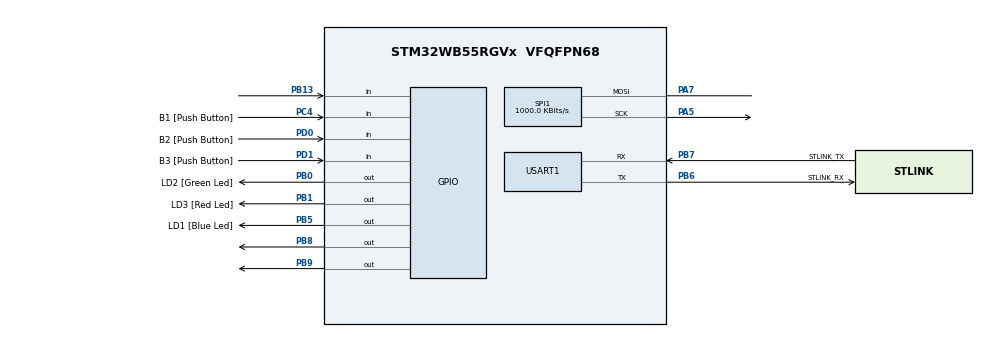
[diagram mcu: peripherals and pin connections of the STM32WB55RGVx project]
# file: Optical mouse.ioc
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Mcu.Family=STM32WB
Mcu.Name=STM32WB55RGVx
Mcu.Package=VFQFPN68
NVIC.PriorityGroup=NVIC_PRIORITYGROUP_4
OSC_IN.GPIO_Label=RCC_OSC_IN
OSC_IN.Mode=HSE-External-Clock-Source
OSC_IN.Signal=RCC_OSC_IN
OSC_OUT.GPIO_Label=RCC_OSC_OUT
OSC_OUT.Signal=RCC_OSC_OUT
PA11.GPIO_Label=USB_DM
PA11.Signal=USB_DM
PA12.GPIO_Label=USB_DP
PA12.Signal=USB_DP
PA13.GPIO_Label=JTMS
PA13.Signal=SYS_JTMS-SWDIO
PA14.GPIO_Label=JTCK
PA14.Signal=SYS_JTCK-SWCLK
PA5.Mode=Simplex_Bidirectional_Master
PA5.Signal=SPI1_SCK
PA7.GPIO_PuPd=GPIO_NOPULL
PA7.Mode=Simplex_Bidirectional_Master
PA7.Signal=SPI1_MOSI
PB0.GPIO_Label=LD2 [Green Led]
PB0.Signal=GPIO_Output
PB1.GPIO_Label=LD3 [Red Led]
PB1.Signal=GPIO_Output
PB13.Signal=GPIO_Input
PB3.GPIO_Label=JTDO
PB3.Signal=SYS_JTDO-SWO
PB5.GPIO_Label=LD1 [Blue Led]
PB5.Signal=GPIO_Output
PB6.GPIO_Label=STLINK_RX
PB6.Mode=Asynchronous
PB6.Signal=USART1_TX
PB7.GPIO_Label=STLINK_TX
PB7.Mode=Asynchronous
PB7.Signal=USART1_RX
PB8.Signal=GPIO_Output
PB9.PinState=GPIO_PIN_SET
PB9.Signal=GPIO_Output
PC13.GPIO_Label=SYS_WKUP2
PC13.Signal=SYS_WKUP2
PC14-OSC32_IN.GPIO_Label=RCC_OSC32_IN
PC14-OSC32_IN.Mode=LSE-External-Clock-Source
PC14-OSC32_IN.Signal=RCC_OSC32_IN
PC15-OSC32_OUT.GPIO_Label=RCC_OSC32_OUT
PC15-OSC32_OUT.Signal=RCC_OSC32_OUT
PC4.GPIO_Label=B1 [Push Button]
PC4.Signal=GPIO_Input
PD0.GPIO_Label=B2 [Push Button]
PD0.Signal=GPIO_Input
PD1.GPIO_Label=B3 [Push Button]
PD1.Signal=GPIO_Input
ProjectManager.HeapSize=0x200
ProjectManager.StackSize=0x400
ProjectManager.TargetToolchain=STM32CubeIDE
RCC.ADCFreq_Value=128000000
RCC.AHBFreq_Value=32000000
RCC.APB1Freq_Value=32000000
RCC.APB1TimFreq_Value=32000000
RCC.APB2Freq_Value=32000000
RCC.APB2TimFreq_Value=32000000
RCC.APB3Freq_Value=16000000
RCC.CortexFreq_Value=32000000
RCC.HCLKFreq_Value=32000000
RCC.HSE_VALUE=32000000
RCC.HSI48_VALUE=48000000
RCC.HSI_VALUE=16000000
RCC.LSE_VALUE=32768
RCC.MSIClockRange=RCC_MSIRANGE_10
RCC.SMPSCLockSelection=RCC_SMPSCLKSOURCE_HSI
RCC.SMPSCLockSelectionVirtual=RCC_SMPSCLKSOURCE_HSI
RCC.SMPSCLockSelectionVirtualVirtual=RCC_SMPSCLKSOURCE_HSI
RCC.SMPSDivider=1
RCC.SYSCLKFreq_VALUE=32000000
RCC.USBFreq_Value=128000000
RCC.VCOOutputFreq_Value=256000000
SPI1.BaudRatePrescaler=SPI_BAUDRATEPRESCALER_32
SPI1.CLKPhase=SPI_PHASE_1EDGE
SPI1.CLKPolarity=SPI_POLARITY_HIGH
SPI1.CalculateBaudRate=1000.0 KBits/s
SPI1.DataSize=SPI_DATASIZE_8BIT
SPI1.Direction=SPI_DIRECTION_1LINE
SPI1.Mode=SPI_MODE_MASTER
SPI1.NSSPMode=SPI_NSS_PULSE_DISABLE
SPI1.VirtualType=VM_MASTER
USART1.VirtualMode-Asynchronous=VM_ASYNC
VP_MEMORYMAP_VS_MEMORYMAP.Mode=CurAppReg
board=NUCLEO-WB55RG

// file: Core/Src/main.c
/* USER CODE BEGIN Header */
/**
  ******************************************************************************
  * @file           : main.c
  * @brief          : Main program body
  ******************************************************************************
  * @attention
  *
  * Copyright (c) 2025 STMicroelectronics.
  * All rights reserved.
  *
  * This software is licensed under terms that can be found in the LICENSE file
  * in the root directory of this software component.
  * If no LICENSE file comes with this software, it is provided AS-IS.
  *
  ******************************************************************************
  */
/* USER CODE END Header */
#include "main.h"

/* USER CODE BEGIN Includes */
#include <stdio.h>
#include <string.h>
#include <stdint.h>
#include <string.h>
#include <stdbool.h>
#include <math.h>
#include "PMW3610DM-SUDU.h"
/* USER CODE END Includes */

SPI_HandleTypeDef hspi1;

UART_HandleTypeDef huart1;

/* USER CODE BEGIN PV */
char txt[20]="Hello\r\n";
PMW3610DM_MotionData motionData;
/* USER CODE END PV */

void SystemClock_Config(void);
void PeriphCommonClock_Config(void);
static void MX_GPIO_Init(void);
static void MX_SPI1_Init(void);
static void MX_USART1_UART_Init(void);

int main(void)
{

  /* MCU Configuration--------------------------------------------------------*/

  /* Reset of all peripherals, Initializes the Flash interface and the Systick. */
  HAL_Init();

  /* Configure the system clock */
  SystemClock_Config();

  /* Configure the peripherals common clocks */
  PeriphCommonClock_Config();

  /* Initialize all configured peripherals */
  MX_GPIO_Init();
  MX_SPI1_Init();
  MX_USART1_UART_Init();
  /* USER CODE BEGIN 2 */

	  PMW3610DM_CS_Deselect();
	  HAL_Delay(1000);
  	  PMW3610DM_CS_Select();
  	HAL_Delay(1000);

//  PMW3610DM_WriteReg(REG_SPI_CLK_ON_REQ, 0xBA); // Enable SPI clock
  PMW3610DM_Init(&hspi1, GPIOB, GPIO_PIN_8);

  /* USER CODE END 2 */

  /* Infinite loop */
  /* USER CODE BEGIN WHILE */
  while (1)
  {

//	  HAL_UART_Transmit(&huart1, (uint8_t *) txt, strlen(txt), HAL_MAX_DELAY);
//	  HAL_Delay(1000);
//	  HAL_GPIO_WritePin(GPIOB, GPIO_PIN_8, GPIO_PIN_RESET);
//	  HAL_Delay(1000);
//	  HAL_GPIO_WritePin(GPIOB, GPIO_PIN_8, GPIO_PIN_SET);
//	  HAL_Delay(1000);
	 //

uint8_t reg=0x41;
uint8_t dummy[2] ;
uint8_t value = 0xBA;
uint8_t data[2] = { reg | PMW3610DM_WRITE, value }; //MSB needs to be 1 for write
	    PMW3610DM_CS_Select();
	   HAL_SPI_Transmit(&hspi1, data, 2, HAL_MAX_DELAY);
	    PMW3610DM_CS_Deselect();
	  //PMW3610DM_ReadMotion(&motionData);
	  HAL_Delay(2000);

    /* USER CODE END WHILE */

  }
}

void SystemClock_Config(void)
{
  RCC_OscInitTypeDef RCC_OscInitStruct = {0};
  RCC_ClkInitTypeDef RCC_ClkInitStruct = {0};

  /** Configure the main internal regulator output voltage
  */
  __HAL_PWR_VOLTAGESCALING_CONFIG(PWR_REGULATOR_VOLTAGE_SCALE1);

  /** Initializes the RCC Oscillators according to the specified parameters
  * in the RCC_OscInitTypeDef structure.
  */
  RCC_OscInitStruct.OscillatorType = RCC_OSCILLATORTYPE_HSI|RCC_OSCILLATORTYPE_HSE
                              |RCC_OSCILLATORTYPE_MSI;
  RCC_OscInitStruct.HSEState = RCC_HSE_ON;
  RCC_OscInitStruct.HSIState = RCC_HSI_ON;
  RCC_OscInitStruct.MSIState = RCC_MSI_ON;
  RCC_OscInitStruct.HSICalibrationValue = RCC_HSICALIBRATION_DEFAULT;
  RCC_OscInitStruct.MSICalibrationValue = RCC_MSICALIBRATION_DEFAULT;
  RCC_OscInitStruct.MSIClockRange = RCC_MSIRANGE_10;
  RCC_OscInitStruct.PLL.PLLState = RCC_PLL_NONE;
  if (HAL_RCC_OscConfig(&RCC_OscInitStruct) != HAL_OK)
  {
    Error_Handler();
  }

  /** Configure the SYSCLKSource, HCLK, PCLK1 and PCLK2 clocks dividers
  */
  RCC_ClkInitStruct.ClockType = RCC_CLOCKTYPE_HCLK4|RCC_CLOCKTYPE_HCLK2
                              |RCC_CLOCKTYPE_HCLK|RCC_CLOCKTYPE_SYSCLK
                              |RCC_CLOCKTYPE_PCLK1|RCC_CLOCKTYPE_PCLK2;
  RCC_ClkInitStruct.SYSCLKSource = RCC_SYSCLKSOURCE_MSI;
  RCC_ClkInitStruct.AHBCLKDivider = RCC_SYSCLK_DIV1;
  RCC_ClkInitStruct.APB1CLKDivider = RCC_HCLK_DIV1;
  RCC_ClkInitStruct.APB2CLKDivider = RCC_HCLK_DIV1;
  RCC_ClkInitStruct.AHBCLK2Divider = RCC_SYSCLK_DIV1;
  RCC_ClkInitStruct.AHBCLK4Divider = RCC_SYSCLK_DIV1;

  if (HAL_RCC_ClockConfig(&RCC_ClkInitStruct, FLASH_LATENCY_1) != HAL_OK)
  {
    Error_Handler();
  }
}

void PeriphCommonClock_Config(void)
{
  RCC_PeriphCLKInitTypeDef PeriphClkInitStruct = {0};

  /** Initializes the peripherals clock
  */
  PeriphClkInitStruct.PeriphClockSelection = RCC_PERIPHCLK_SMPS;
  PeriphClkInitStruct.SmpsClockSelection = RCC_SMPSCLKSOURCE_HSI;
  PeriphClkInitStruct.SmpsDivSelection = RCC_SMPSCLKDIV_RANGE0;

  if (HAL_RCCEx_PeriphCLKConfig(&PeriphClkInitStruct) != HAL_OK)
  {
    Error_Handler();
  }
}

static void MX_SPI1_Init(void)
{

  /* SPI1 parameter configuration*/
  hspi1.Instance = SPI1;
  hspi1.Init.Mode = SPI_MODE_MASTER;
  hspi1.Init.Direction = SPI_DIRECTION_1LINE;
  hspi1.Init.DataSize = SPI_DATASIZE_8BIT;
  hspi1.Init.CLKPolarity = SPI_POLARITY_HIGH;
  hspi1.Init.CLKPhase = SPI_PHASE_1EDGE;
  hspi1.Init.NSS = SPI_NSS_SOFT;
  hspi1.Init.BaudRatePrescaler = SPI_BAUDRATEPRESCALER_32;
  hspi1.Init.FirstBit = SPI_FIRSTBIT_MSB;
  hspi1.Init.TIMode = SPI_TIMODE_DISABLE;
  hspi1.Init.CRCCalculation = SPI_CRCCALCULATION_DISABLE;
  hspi1.Init.CRCPolynomial = 7;
  hspi1.Init.CRCLength = SPI_CRC_LENGTH_DATASIZE;
  hspi1.Init.NSSPMode = SPI_NSS_PULSE_DISABLE;
  if (HAL_SPI_Init(&hspi1) != HAL_OK)
  {
    Error_Handler();
  }

}

static void MX_USART1_UART_Init(void)
{

  huart1.Instance = USART1;
  huart1.Init.BaudRate = 115200;
  huart1.Init.WordLength = UART_WORDLENGTH_8B;
  huart1.Init.StopBits = UART_STOPBITS_1;
  huart1.Init.Parity = UART_PARITY_NONE;
  huart1.Init.Mode = UART_MODE_TX_RX;
  huart1.Init.HwFlowCtl = UART_HWCONTROL_NONE;
  huart1.Init.OverSampling = UART_OVERSAMPLING_16;
  huart1.Init.OneBitSampling = UART_ONE_BIT_SAMPLE_DISABLE;
  huart1.Init.ClockPrescaler = UART_PRESCALER_DIV1;
  huart1.AdvancedInit.AdvFeatureInit = UART_ADVFEATURE_NO_INIT;
  if (HAL_UART_Init(&huart1) != HAL_OK)
  {
    Error_Handler();
  }
  if (HAL_UARTEx_SetTxFifoThreshold(&huart1, UART_TXFIFO_THRESHOLD_1_8) != HAL_OK)
  {
    Error_Handler();
  }
  if (HAL_UARTEx_SetRxFifoThreshold(&huart1, UART_RXFIFO_THRESHOLD_1_8) != HAL_OK)
  {
    Error_Handler();
  }
  if (HAL_UARTEx_DisableFifoMode(&huart1) != HAL_OK)
  {
    Error_Handler();
  }

}

static void MX_GPIO_Init(void)
{
  GPIO_InitTypeDef GPIO_InitStruct = {0};

  /* GPIO Ports Clock Enable */
  __HAL_RCC_GPIOC_CLK_ENABLE();
  __HAL_RCC_GPIOB_CLK_ENABLE();
  __HAL_RCC_GPIOA_CLK_ENABLE();
  __HAL_RCC_GPIOD_CLK_ENABLE();

  /*Configure GPIO pin Output Level */
  HAL_GPIO_WritePin(GPIOB, GPIO_PIN_8|LD2_Pin|LD3_Pin|LD1_Pin, GPIO_PIN_RESET);

  /*Configure GPIO pin Output Level */
  HAL_GPIO_WritePin(GPIOB, GPIO_PIN_9, GPIO_PIN_SET);

  /*Configure GPIO pins : PB8 PB9 LD2_Pin LD3_Pin
                           LD1_Pin */
  GPIO_InitStruct.Pin = GPIO_PIN_8|GPIO_PIN_9|LD2_Pin|LD3_Pin
                          |LD1_Pin;
  GPIO_InitStruct.Mode = GPIO_MODE_OUTPUT_PP;
  GPIO_InitStruct.Pull = GPIO_NOPULL;
  GPIO_InitStruct.Speed = GPIO_SPEED_FREQ_LOW;
  HAL_GPIO_Init(GPIOB, &GPIO_InitStruct);

  /*Configure GPIO pin : B1_Pin */
  GPIO_InitStruct.Pin = B1_Pin;
  GPIO_InitStruct.Mode = GPIO_MODE_INPUT;
  GPIO_InitStruct.Pull = GPIO_NOPULL;
  HAL_GPIO_Init(B1_GPIO_Port, &GPIO_InitStruct);

  /*Configure GPIO pin : PB13 */
  GPIO_InitStruct.Pin = GPIO_PIN_13;
  GPIO_InitStruct.Mode = GPIO_MODE_INPUT;
  GPIO_InitStruct.Pull = GPIO_NOPULL;
  HAL_GPIO_Init(GPIOB, &GPIO_InitStruct);

  /*Configure GPIO pins : USB_DM_Pin USB_DP_Pin */
  GPIO_InitStruct.Pin = USB_DM_Pin|USB_DP_Pin;
  GPIO_InitStruct.Mode = GPIO_MODE_AF_PP;
  GPIO_InitStruct.Pull = GPIO_NOPULL;
  GPIO_InitStruct.Speed = GPIO_SPEED_FREQ_LOW;
  GPIO_InitStruct.Alternate = GPIO_AF10_USB;
  HAL_GPIO_Init(GPIOA, &GPIO_InitStruct);

  /*Configure GPIO pins : B2_Pin B3_Pin */
  GPIO_InitStruct.Pin = B2_Pin|B3_Pin;
  GPIO_InitStruct.Mode = GPIO_MODE_INPUT;
  GPIO_InitStruct.Pull = GPIO_NOPULL;
  HAL_GPIO_Init(GPIOD, &GPIO_InitStruct);

}

void Error_Handler(void)
{
  __disable_irq();
  while (1)
  {
  }
}
